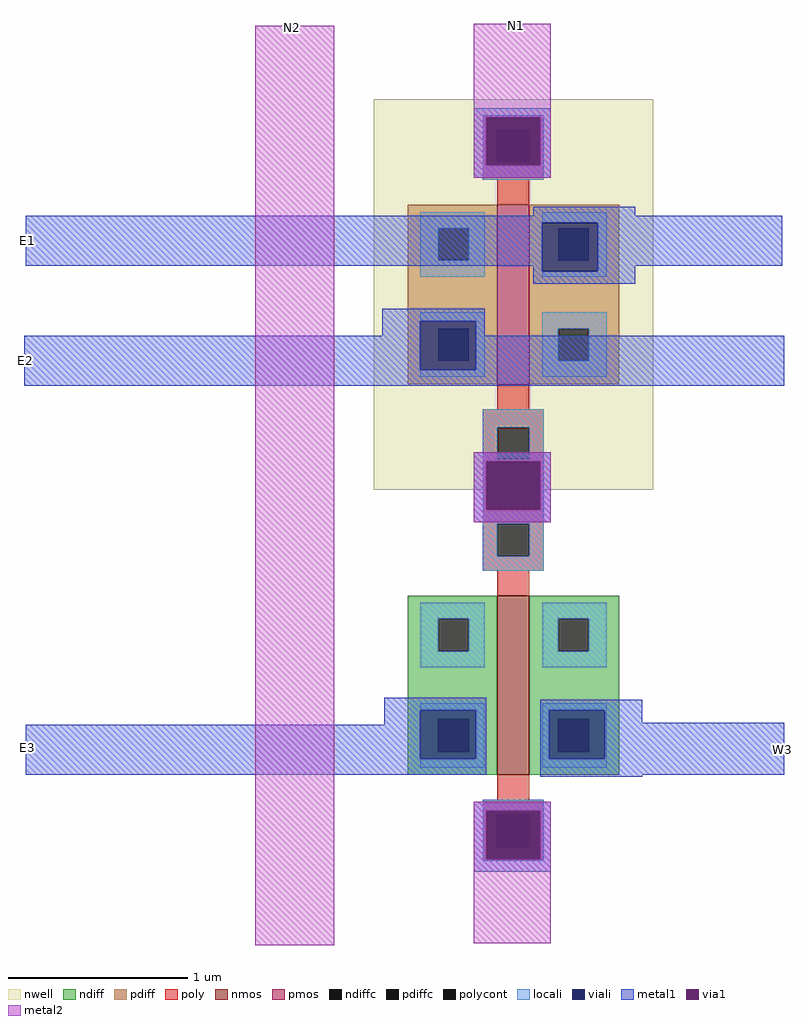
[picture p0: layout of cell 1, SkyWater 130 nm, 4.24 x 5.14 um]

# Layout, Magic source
magic
tech sky130A
<< nwell >>
rect 106 301 262 519
<< nmos >>
rect 175 142 193 242
<< pmos >>
rect 175 360 193 460
<< ndiff >>
rect 125 229 175 242
rect 125 211 142 229
rect 159 211 175 229
rect 125 173 175 211
rect 125 155 142 173
rect 159 155 175 173
rect 125 142 175 155
rect 193 229 243 242
rect 193 211 209 229
rect 226 211 243 229
rect 193 173 243 211
rect 193 155 209 173
rect 226 155 243 173
rect 193 142 243 155
<< pdiff >>
rect 125 447 175 460
rect 125 429 142 447
rect 159 429 175 447
rect 125 391 175 429
rect 125 373 142 391
rect 159 373 175 391
rect 125 360 175 373
rect 193 447 243 460
rect 193 429 209 447
rect 226 429 243 447
rect 193 391 243 429
rect 193 373 209 391
rect 226 373 243 391
rect 193 360 243 373
<< ndiffc >>
rect 142 211 159 229
rect 142 155 159 173
rect 209 211 226 229
rect 209 155 226 173
<< pdiffc >>
rect 142 429 159 447
rect 142 373 159 391
rect 209 429 226 447
rect 209 373 226 391
<< poly >>
rect 167 502 201 510
rect 167 484 175 502
rect 193 484 201 502
rect 167 474 201 484
rect 175 460 193 474
rect 175 346 193 360
rect 167 336 201 346
rect 167 318 175 336
rect 193 318 201 336
rect 167 282 201 318
rect 167 264 175 282
rect 193 264 201 282
rect 167 256 201 264
rect 175 242 193 256
rect 175 128 193 142
rect 167 120 201 128
rect 167 102 175 120
rect 193 102 201 120
rect 167 94 201 102
<< polycont >>
rect 175 484 193 502
rect 175 318 193 336
rect 175 264 193 282
rect 175 102 193 120
<< locali >>
rect 167 509 201 510
rect 167 482 169 509
rect 199 482 201 509
rect 167 474 201 482
rect 132 447 168 456
rect 132 429 142 447
rect 159 429 168 447
rect 132 420 168 429
rect 200 450 236 456
rect 231 423 236 450
rect 200 420 236 423
rect 132 395 168 400
rect 163 368 168 395
rect 132 364 168 368
rect 200 391 236 400
rect 200 373 209 391
rect 226 373 236 391
rect 200 364 236 373
rect 167 336 201 346
rect 167 318 175 336
rect 193 318 201 336
rect 167 317 201 318
rect 167 290 169 317
rect 199 290 201 317
rect 167 282 201 290
rect 167 264 175 282
rect 193 264 201 282
rect 167 256 201 264
rect 132 229 168 238
rect 132 211 142 229
rect 159 211 168 229
rect 132 202 168 211
rect 200 229 236 238
rect 200 211 209 229
rect 226 211 236 229
rect 200 202 236 211
rect 132 178 168 182
rect 163 151 168 178
rect 132 146 168 151
rect 200 178 236 182
rect 200 151 204 178
rect 235 151 236 178
rect 200 146 236 151
rect 167 122 201 128
rect 167 95 169 122
rect 199 95 201 122
rect 167 94 201 95
<< viali >>
rect 169 502 199 509
rect 169 484 175 502
rect 175 484 193 502
rect 193 484 199 502
rect 169 482 199 484
rect 200 447 231 450
rect 200 429 209 447
rect 209 429 226 447
rect 226 429 231 447
rect 200 423 231 429
rect 132 391 163 395
rect 132 373 142 391
rect 142 373 159 391
rect 159 373 163 391
rect 132 368 163 373
rect 169 290 199 317
rect 132 173 163 178
rect 132 155 142 173
rect 142 155 159 173
rect 159 155 163 173
rect 132 151 163 155
rect 204 173 235 178
rect 204 155 209 173
rect 209 155 226 173
rect 226 155 235 173
rect 204 151 235 155
rect 169 120 199 122
rect 169 102 175 120
rect 175 102 193 120
rect 193 102 199 120
rect 169 95 199 102
<< metal1 >>
rect 162 509 205 514
rect 162 482 169 509
rect 199 482 205 509
rect 162 475 205 482
rect 195 454 252 459
rect -88 450 334 454
rect -88 426 200 450
rect 195 423 200 426
rect 231 426 334 450
rect 231 423 252 426
rect 195 416 252 423
rect 111 395 168 402
rect 111 387 132 395
rect -89 368 132 387
rect 163 387 168 395
rect 163 368 335 387
rect -89 359 335 368
rect 162 317 205 322
rect 162 290 169 317
rect 199 290 205 317
rect 162 283 205 290
rect 112 178 169 185
rect 112 170 132 178
rect -88 151 132 170
rect 163 151 169 178
rect -88 142 169 151
rect 199 178 256 184
rect 199 151 204 178
rect 235 171 256 178
rect 235 151 335 171
rect 199 142 335 151
rect 199 141 256 142
rect 162 122 205 127
rect 162 95 169 122
rect 199 95 205 122
rect 162 88 205 95
<< via1 >>
rect 169 482 199 509
rect 169 290 199 317
rect 169 95 199 122
<< metal2 >>
rect 40 47 84 560
rect 162 509 205 561
rect 162 482 169 509
rect 199 482 205 509
rect 162 475 205 482
rect 162 317 205 322
rect 162 290 169 317
rect 199 290 205 317
rect 162 283 205 290
rect 162 122 205 127
rect 162 95 169 122
rect 199 95 205 122
rect 162 48 205 95
<< labels >>
rlabel metal2 186 560 186 560 1 N1
port 9 n
rlabel metal2 61 559 61 559 1 N2
port 10 n
rlabel metal1 334 156 334 156 3 W3
port 6 e
rlabel metal1 -87 440 -87 440 7 E1
port 1 w
rlabel metal1 -88 373 -88 373 7 E2
port 2 w
rlabel metal1 -87 157 -87 157 7 E3
port 3 w
<< end >>
